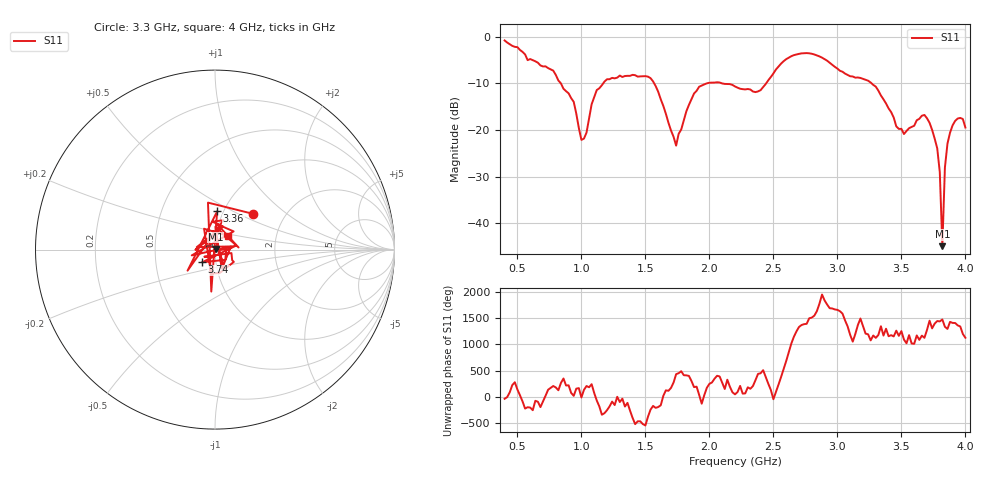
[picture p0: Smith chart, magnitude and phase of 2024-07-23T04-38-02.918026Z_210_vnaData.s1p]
!Created with skrf (http://scikit-rf.org).
# Hz S RI R 50.0
!freq ReS11 ImS11
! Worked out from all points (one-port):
!   181 points, 400 MHz to 4 GHz, reference 50 ohm
!   lowest |S11| = -44.9 dB at 3.82 GHz (marker M1), VSWR 1.01, Z = 50.5 + j0.323 ohm
!   |S11| at or under -10 dB: 1.569 GHz to 1.979 GHz (410.1 MHz wide, 23.1 % of centre); 2.099 GHz to 2.443 GHz (343.9 MHz wide, 15.1 % of centre); 3.268 GHz to end of sweep (the widest 3 of 4)
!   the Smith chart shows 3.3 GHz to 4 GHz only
!   S11 on the Smith chart (normalised r, x): 3.3 GHz: 1.39, +0.60; 3.36 GHz: 0.93, +0.42; 3.74 GHz: 0.86, -0.12; 4 GHz: 1.15, +0.18
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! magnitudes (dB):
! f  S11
! 400 MHz  -0.8
! 780 MHz  -7.3
! 860 MHz  -11.2
! 940 MHz  -14.0
! 1 GHz  -22.1
! 1.12 GHz  -11.4
! 1.3 GHz  -8.3
! 1.54 GHz  -8.9
! 1.74 GHz  -23.4
! 1.76 GHz  -20.8
! 1.92 GHz  -10.7
! 2.2 GHz  -10.7
! 2.4 GHz  -11.4
! 2.66 GHz  -3.9
! 3.1 GHz  -8.5
! 3.3 GHz  -10.7
! 3.36 GHz  -13.4
! 3.46 GHz  -19.2
! 3.56 GHz  -19.6
! 3.68 GHz  -16.8
! 3.74 GHz  -20.0
! 3.78 GHz  -23.9
! 3.8 GHz  -29.0
! 3.82 GHz  -44.9
! 3.84 GHz  -28.1
! 3.86 GHz  -22.9
! 3.94 GHz  -17.5
! 4 GHz  -19.5
